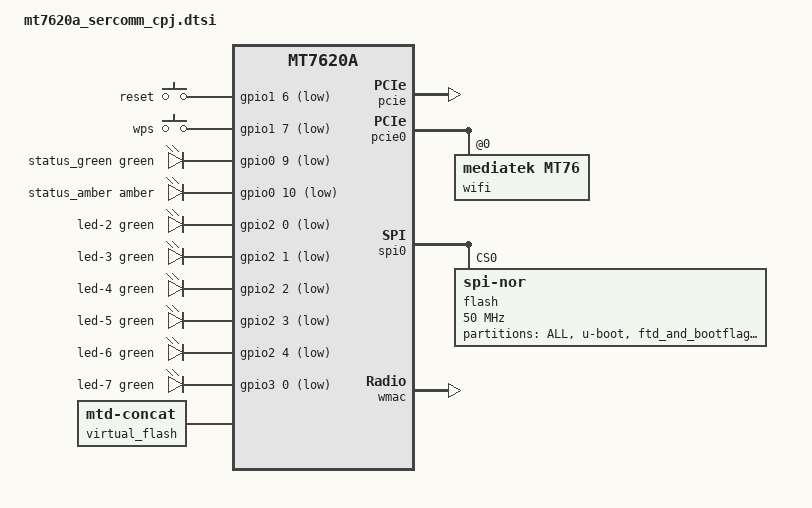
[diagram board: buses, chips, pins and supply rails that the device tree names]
// SPDX-License-Identifier: GPL-2.0-or-later OR MIT

#include "mt7620a.dtsi"

#include <dt-bindings/gpio/gpio.h>
#include <dt-bindings/input/input.h>
#include <dt-bindings/leds/common.h>

/ {
	aliases {
		label-mac-device = &ethernet;

		led-boot = &status_green;
		led-failsafe = &status_amber;
		led-running = &status_green;
		led-upgrade = &status_amber;
	};

	keys {
		compatible = "gpio-keys";

		button-0 {
			label = "reset";
			linux,code = <KEY_RESTART>;
			gpios = <&gpio1 6 GPIO_ACTIVE_LOW>;
			debounce-interval = <60>;
		};

		button-1 {
			label = "wps";
			linux,code = <KEY_RESTART>;
			gpios = <&gpio1 7 GPIO_ACTIVE_LOW>;
			debounce-interval = <60>;
		};
	};

	leds {
		compatible = "gpio-leds";

		status_green: led-0 {
			gpios = <&gpio0 9 GPIO_ACTIVE_LOW>;
			color = <LED_COLOR_ID_GREEN>;
			function = LED_FUNCTION_STATUS;
		};

		status_amber: led-1 {
			gpios = <&gpio0 10 GPIO_ACTIVE_LOW>;
			color = <LED_COLOR_ID_AMBER>;
			function = LED_FUNCTION_STATUS;
		};

		led-2 {
			color = <LED_COLOR_ID_GREEN>;
			function = LED_FUNCTION_WAN;
			gpios = <&gpio2 0 GPIO_ACTIVE_LOW>;
		};

		led-3 {
			color = <LED_COLOR_ID_GREEN>;
			function = LED_FUNCTION_LAN;
			function-enumerator = <1>;
			gpios = <&gpio2 1 GPIO_ACTIVE_LOW>;
		};

		led-4 {
			color = <LED_COLOR_ID_GREEN>;
			function = LED_FUNCTION_LAN;
			function-enumerator = <2>;
			gpios = <&gpio2 2 GPIO_ACTIVE_LOW>;
		};

		led-5 {
			color = <LED_COLOR_ID_GREEN>;
			function = LED_FUNCTION_LAN;
			function-enumerator = <3>;
			gpios = <&gpio2 3 GPIO_ACTIVE_LOW>;
		};

		led-6 {
			color = <LED_COLOR_ID_GREEN>;
			function = LED_FUNCTION_LAN;
			function-enumerator = <4>;
			gpios = <&gpio2 4 GPIO_ACTIVE_LOW>;
		};

		led-7 {
			color = <LED_COLOR_ID_GREEN>;
			function = LED_FUNCTION_WLAN;
			function-enumerator = <24>;
			gpios = <&gpio3 0 GPIO_ACTIVE_LOW>;
			linux,default-trigger = "phy1tpt";
		};
	};

	virtual_flash {
		compatible = "mtd-concat";

		devices = <&fwconcat0 &fwconcat1>;

		partitions {
			compatible = "fixed-partitions";
			#address-cells = <1>;
			#size-cells = <1>;

			partition@0 {
				compatible = "openwrt,uimage";
				/* sercomm krnl hdr with fw chksums */
				openwrt,offset = <0x100>;
				label = "firmware";
				reg = <0x0 0x0>;
			};
		};
	};
};

&ethernet {
	nvmem-cells = <&macaddr_label 0>;
	nvmem-cell-names = "mac-address";
};

&gpio1 {
	status = "okay";
};

&gpio2 {
	status = "okay";
};

&gpio3 {
	status = "okay";
};

&pcie {
	status = "okay";
};

/* mt7612 */
&pcie0 {
	wifi@0,0 {
		compatible = "mediatek,mt76";
		reg = <0x0000 0 0 0 0>;
		ieee80211-freq-limit = <5000000 6000000>;

		nvmem-cells = <&eeprom_factory_8000>, <&macaddr_label 6>;
		nvmem-cell-names = "eeprom", "mac-address";

		/* 5 GHz WLAN phy green led */
		led {
			led-sources = <2>;
			led-active-low;
		};
	};
};

&spi0 {
	status = "okay";

	flash@0 {
		compatible = "jedec,spi-nor";
		reg = <0>;
		spi-max-frequency = <50000000>;
		m25p,fast-read;

		partitions {
			compatible = "fixed-partitions";
			#address-cells = <1>;
			#size-cells = <1>;

			/* whole flash */
			partition@0_all {
				label = "ALL";
				reg = <0x0 0x1000000>;
				read-only;
			};

			partition@0 {
				label = "u-boot";
				reg = <0x0 0x30000>;
				read-only;
			};

			partition@30000 {
				label = "ftd_and_bootflag";
				reg = <0x30000 0x20000>;
			};

			partition@50000 {
				label = "Factory";
				reg = <0x50000 0x10000>;
				read-only;

				nvmem-layout {
					compatible = "fixed-layout";
					#address-cells = <1>;
					#size-cells = <1>;

					eeprom_factory_0: eeprom@0 {
						reg = <0x0 0x200>;
					};

					eeprom_factory_8000: eeprom@8000 {
						reg = <0x8000 0x200>;
					};
				};
			};

			partition@60000 {
				label = "SC Nvram(permanent data)";
				reg = <0x60000 0x10000>;
				read-only;

				nvmem-layout {
					compatible = "fixed-layout";
					#address-cells = <1>;
					#size-cells = <1>;

					macaddr_label: macaddr@0 {
						compatible = "mac-base";
						reg = <0x0 0x6>;
						#nvmem-cell-cells = <1>;
					};
				};
			};

			fwconcat0: partition@70000 {
				label = "Firmware";
				reg = <0x70000 0x790000>;

				compatible = "fixed-partitions";
				#address-cells = <1>;
				#size-cells = <1>;

				partition@0 {
					label = "Kernel";
					reg = <0x0 0x200000>;
				};

				partition@200000 {
					label = "RootFS";
					reg = <0x200000 0x590000>;
				};
			};

			fwconcat1: partition@800000 {
				label = "Firmware2";
				reg = <0x800000 0x790000>;

				compatible = "fixed-partitions";
				#address-cells = <1>;
				#size-cells = <1>;

				partition@0 {
					label = "Kernel2";
					reg = <0x0 0x200000>;
				};

				partition@200000 {
					label = "RootFS2";
					reg = <0x200000 0x590000>;
				};
			};

			partition@f90000 {
				label = "MAC IP";
				reg = <0xf90000 0x10000>;
				read-only;
			};

			partition@fa0000 {
				label = "Critical Log";
				reg = <0xfa0000 0x10000>;
				read-only;
			};

			partition@fb000 {
				label = "Critical Log Bak";
				reg = <0xfb0000 0x10000>;
				read-only;
			};

			partition@fc0000 {
				label = "Xml Config";
				reg = <0xfc0000 0x20000>;
				read-only;
			};

			partition@fe0000 {
				label = "Xml Config Bak";
				reg = <0xfe0000 0x20000>;
				read-only;
			};
		};
	};
};

&state_default {
	gpio {
		groups = "ephy", "rgmii1", "uartf", "wled";
		function = "gpio";
	};
};

/* mt7620 */
&wmac {
	nvmem-cells = <&eeprom_factory_0>, <&macaddr_label 2>;
	nvmem-cell-names = "eeprom", "mac-address";
};
